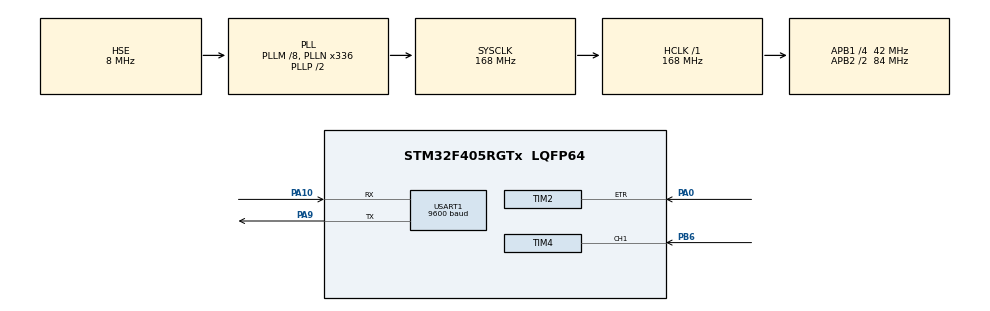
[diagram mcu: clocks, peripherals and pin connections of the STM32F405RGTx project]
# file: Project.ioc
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Mcu.Family=STM32F4
Mcu.Name=STM32F405RGTx
Mcu.Package=LQFP64
NVIC.PriorityGroup=NVIC_PRIORITYGROUP_4
NVIC.TIM4_IRQn=true\:1\:0\:true\:false\:true
NVIC.TIM5_IRQn=true\:0\:0\:false\:false\:true
NVIC.USART1_IRQn=true\:0\:0\:false\:false\:true
PA0-WKUP.Signal=S_TIM2_CH1_ETR
PA10.Mode=Asynchronous
PA10.Signal=USART1_RX
PA9.Mode=Asynchronous
PA9.Signal=USART1_TX
PB6.Signal=S_TIM4_CH1
PH0-OSC_IN.Mode=HSE-External-Oscillator
PH0-OSC_IN.Signal=RCC_OSC_IN
PH1-OSC_OUT.Mode=HSE-External-Oscillator
PH1-OSC_OUT.Signal=RCC_OSC_OUT
ProjectManager.HeapSize=0x200
ProjectManager.StackSize=0x400
ProjectManager.TargetToolchain=MDK-ARM V5
RCC.48MHZClocksFreq_Value=84000000
RCC.AHBFreq_Value=168000000
RCC.APB1CLKDivider=RCC_HCLK_DIV4
RCC.APB1Freq_Value=42000000
RCC.APB1TimFreq_Value=84000000
RCC.APB2CLKDivider=RCC_HCLK_DIV2
RCC.APB2Freq_Value=84000000
RCC.APB2TimFreq_Value=168000000
RCC.CortexFreq_Value=168000000
RCC.HCLKFreq_Value=168000000
RCC.HSE_VALUE=8000000
RCC.HSI_VALUE=16000000
RCC.LSE_VALUE=32768
RCC.PLLM=8
RCC.PLLN=336
RCC.PLLSourceVirtual=RCC_PLLSOURCE_HSE
RCC.SYSCLKFreq_VALUE=168000000
RCC.SYSCLKSource=RCC_SYSCLKSOURCE_PLLCLK
RCC.VCOOutputFreq_Value=336000000
SH.S_TIM2_CH1_ETR.0=TIM2_ETR,ClockSourceETR_Mode2
SH.S_TIM4_CH1.0=TIM4_CH1,Input_Capture1_from_TI1
TIM1.Period=65535
TIM1.Prescaler=35
TIM2.Period=0xFFFFFFFF
TIM4.Prescaler=41
TIM5.Period=999
TIM5.Prescaler=41999
USART1.BaudRate=9600
VP_TIM1_VS_ClockSourceINT.Mode=Internal
VP_TIM4_VS_ClockSourceINT.Mode=Internal
VP_TIM5_VS_ClockSourceINT.Mode=Internal
board=Project

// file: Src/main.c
/**
  ******************************************************************************
  * File Name          : main.c
  * Description        : Main program body
  ******************************************************************************
  *
  * COPYRIGHT(c) 2018 STMicroelectronics
  *
  * Redistribution and use in source and binary forms, with or without modification,
  * are permitted provided that the following conditions are met:
  *   1. Redistributions of source code must retain the above copyright notice,
  *      this list of conditions and the following disclaimer.
  *   2. Redistributions in binary form must reproduce the above copyright notice,
  *      this list of conditions and the following disclaimer in the documentation
  *      and/or other materials provided with the distribution.
  *   3. Neither the name of STMicroelectronics nor the names of its contributors
  *      may be used to endorse or promote products derived from this software
  *      without specific prior written permission.
  *
  * THIS SOFTWARE IS PROVIDED BY THE COPYRIGHT HOLDERS AND CONTRIBUTORS "AS IS"
  * AND ANY EXPRESS OR IMPLIED WARRANTIES, INCLUDING, BUT NOT LIMITED TO, THE
  * IMPLIED WARRANTIES OF MERCHANTABILITY AND FITNESS FOR A PARTICULAR PURPOSE ARE
  * DISCLAIMED. IN NO EVENT SHALL THE COPYRIGHT HOLDER OR CONTRIBUTORS BE LIABLE
  * FOR ANY DIRECT, INDIRECT, INCIDENTAL, SPECIAL, EXEMPLARY, OR CONSEQUENTIAL
  * DAMAGES (INCLUDING, BUT NOT LIMITED TO, PROCUREMENT OF SUBSTITUTE GOODS OR
  * SERVICES; LOSS OF USE, DATA, OR PROFITS; OR BUSINESS INTERRUPTION) HOWEVER
  * CAUSED AND ON ANY THEORY OF LIABILITY, WHETHER IN CONTRACT, STRICT LIABILITY,
  * OR TORT (INCLUDING NEGLIGENCE OR OTHERWISE) ARISING IN ANY WAY OUT OF THE USE
  * OF THIS SOFTWARE, EVEN IF ADVISED OF THE POSSIBILITY OF SUCH DAMAGE.
  *
  ******************************************************************************
  */
#include "stm32f4xx_hal.h"
#include "tim.h"
#include "usart.h"
#include "gpio.h"

/* USER CODE BEGIN PV */
/* Private variables ---------------------------------------------------------*/

/* USER CODE END PV */

void SystemClock_Config(void);
void Error_Handler(void);

/* USER CODE BEGIN PFP */
/* Private function prototypes -----------------------------------------------*/

/* USER CODE END PFP */

/* USER CODE BEGIN 0 */
uint16_t     TIM4CH1_CAPTURE_STA=0X80;		//输入捕获状态
float       TIM_FREQ;                       //频率值
uint32_t	  TIM1_COUNTER_TEMP;	            //定时器1计数值
uint32_t    TIM2_COUNTER_TEMP;              //定时器2计数值
/* USER CODE END 0 */

int main(void)
{

  /* U SER CODE BEGIN 1 */
    uint8_t f=0xff;
    char x='\"';
  /* USER CODE END 1 */

  /* MCU Configuration----------------------------------------------------------*/

  /* Reset of all peripherals, Initializes the Flash interface and the Systick. */
  HAL_Init();

  /* Configure the system clock */
  SystemClock_Config();

  /* Initialize all configured peripherals */
  MX_GPIO_Init();
  MX_TIM1_Init();
  MX_TIM2_Init();
  MX_TIM4_Init();
  MX_TIM5_Init();
  MX_USART1_UART_Init();

  /* USER CODE BEGIN 2 */
  HAL_TIM_IC_Start_IT(&htim4,TIM_CHANNEL_1); //使能TIM4输入捕获中断
  __HAL_TIM_ENABLE_IT(&htim4, TIM_CHANNEL_1); //使能更新中断

    __HAL_TIM_SET_COUNTER(&htim1,0);      //定时器1清零
    __HAL_TIM_SET_COUNTER(&htim2,0);      //定时器2清零

  /* USER CODE END 2 */

  /* Infinite loop */
  while (1)
  {
    if(TIM4CH1_CAPTURE_STA&0X800)
    {
        TIM_FREQ = (float)(TIM2_COUNTER_TEMP*20.0f)/TIM1_COUNTER_TEMP;

        printf("%.2fKHZ",TIM_FREQ);

        TIM1_COUNTER_TEMP = 0;
        TIM2_COUNTER_TEMP = 0;
        TIM4CH1_CAPTURE_STA = 0X80;
        HAL_TIM_IC_Start_IT(&htim4,TIM_CHANNEL_1);
    }

    else if(TIM4CH1_CAPTURE_STA&0X400)
    {
        TIM_FREQ = (float) 20000 / TIM1_COUNTER_TEMP;
        printf("%.2fHZ",TIM_FREQ);
        TIM1_COUNTER_TEMP = 0;
        TIM4CH1_CAPTURE_STA = 0X80;
    }
  }

}

/** System Clock Configuration
*/
void SystemClock_Config(void)
{

  RCC_OscInitTypeDef RCC_OscInitStruct;
  RCC_ClkInitTypeDef RCC_ClkInitStruct;

  __HAL_RCC_PWR_CLK_ENABLE();

  __HAL_PWR_VOLTAGESCALING_CONFIG(PWR_REGULATOR_VOLTAGE_SCALE1);

  RCC_OscInitStruct.OscillatorType = RCC_OSCILLATORTYPE_HSE;
  RCC_OscInitStruct.HSEState = RCC_HSE_ON;
  RCC_OscInitStruct.PLL.PLLState = RCC_PLL_ON;
  RCC_OscInitStruct.PLL.PLLSource = RCC_PLLSOURCE_HSE;
  RCC_OscInitStruct.PLL.PLLM = 8;
  RCC_OscInitStruct.PLL.PLLN = 336;
  RCC_OscInitStruct.PLL.PLLP = RCC_PLLP_DIV2;
  RCC_OscInitStruct.PLL.PLLQ = 4;
  if (HAL_RCC_OscConfig(&RCC_OscInitStruct) != HAL_OK)
  {
    Error_Handler();
  }

  RCC_ClkInitStruct.ClockType = RCC_CLOCKTYPE_HCLK|RCC_CLOCKTYPE_SYSCLK
                              |RCC_CLOCKTYPE_PCLK1|RCC_CLOCKTYPE_PCLK2;
  RCC_ClkInitStruct.SYSCLKSource = RCC_SYSCLKSOURCE_PLLCLK;
  RCC_ClkInitStruct.AHBCLKDivider = RCC_SYSCLK_DIV1;
  RCC_ClkInitStruct.APB1CLKDivider = RCC_HCLK_DIV4;
  RCC_ClkInitStruct.APB2CLKDivider = RCC_HCLK_DIV2;
  if (HAL_RCC_ClockConfig(&RCC_ClkInitStruct, FLASH_LATENCY_5) != HAL_OK)
  {
    Error_Handler();
  }

  HAL_SYSTICK_Config(HAL_RCC_GetHCLKFreq()/1000);

  HAL_SYSTICK_CLKSourceConfig(SYSTICK_CLKSOURCE_HCLK);

  /* SysTick_IRQn interrupt configuration */
  HAL_NVIC_SetPriority(SysTick_IRQn, 0, 0);
}

/* USER CODE BEGIN 4 */
//定时器TIM4输入捕获中断处理回调函数，该函数在HAL_TIM_IRQHandler中会被调用
void HAL_TIM_IC_CaptureCallback(TIM_HandleTypeDef *htim)//捕获中断发生时执行
{
                    //粗测第一次捕获上升沿
                    if(TIM4CH1_CAPTURE_STA&0X80)
                    {
                        TIM4CH1_CAPTURE_STA = 0X40;		//等待第二次上升沿
                        HAL_TIM_Base_Start(&htim1);     //使能定时器1，对标准信号计数
                    }
                    //完成粗测
                    else if(TIM4CH1_CAPTURE_STA&0X40)
                    {
                        if(__HAL_TIM_GET_COUNTER(&htim1) < 200)//获得定时器1计数值,小于200，则频率大于100
                            TIM4CH1_CAPTURE_STA = 0x20;                    //开启等精度测频
                        else
                            TIM4CH1_CAPTURE_STA = 0x04;                    //开启低频测频

                       HAL_TIM_Base_Stop(&htim1);                        //关闭定时器1
                       __HAL_TIM_SET_COUNTER(&htim1,0);       //定时器1清零
                    }

                    else if(TIM4CH1_CAPTURE_STA&0X20)             //开启等精度测评
                    {
                        TIM4CH1_CAPTURE_STA = 0X10;                      //等待闸门时间
                        HAL_TIM_Base_Start_IT(&htim5);                           //使能TIM5定时器中断
                        __HAL_TIM_SET_COUNTER(&htim5,0);      //定时器5清零
                    }

                    else if(TIM4CH1_CAPTURE_STA&0X10)              //开启计数
                    {
                          TIM4CH1_CAPTURE_STA = 0X01;   //等待闸门时间
                          HAL_TIM_Base_Start(&htim1);     //对标准信号计数
                          HAL_TIM_Base_Start(&htim2);     //对被测信号计数
                    }

                   else if(TIM4CH1_CAPTURE_STA&0X08)	//完成一次等精度测频
                  {
                        TIM1_COUNTER_TEMP = __HAL_TIM_GET_COUNTER(&htim1); //获得定时器1计数值
                        TIM2_COUNTER_TEMP = __HAL_TIM_GET_COUNTER(&htim2); //获得定时器2计数值

                        HAL_TIM_IC_Stop_IT(&htim4,TIM_CHANNEL_1);
                        HAL_TIM_Base_Stop(&htim1);            //关闭定时器1
                        HAL_TIM_Base_Stop(&htim2);            //关闭定时器2
                        __HAL_TIM_SET_COUNTER(&htim1,0);      //定时器1清零
                        __HAL_TIM_SET_COUNTER(&htim2,0);      //定时器2清零
                        TIM4CH1_CAPTURE_STA = 0X800;		//完成一次等精度测频
                   }

                   else if(TIM4CH1_CAPTURE_STA&0X04)        //开启低频检测
                   {
                       TIM4CH1_CAPTURE_STA = 0X02;    //等待第二次检测上升沿
                       HAL_TIM_Base_Start(&htim1);     //使能定时器1，对标准信号计数
                   }

                   else if(TIM4CH1_CAPTURE_STA&0X02)      //完成低频检测
                   {
                       TIM1_COUNTER_TEMP = __HAL_TIM_GET_COUNTER(&htim1); //获得定时器1计数值
                       HAL_TIM_Base_Stop(&htim1);            //关闭定时器1
                       __HAL_TIM_SET_COUNTER(&htim1,0);      //定时器1清零
                       TIM4CH1_CAPTURE_STA = 0X400;  //输出结果
                   }

}

 //定时器TIM5溢出中断处理回调函数
void HAL_TIM_PeriodElapsedCallback(TIM_HandleTypeDef *htim)
{
    if(TIM5 == htim->Instance)
    {
       if(TIM4CH1_CAPTURE_STA&0x01)
            TIM4CH1_CAPTURE_STA = 0x08;
    }
}

int fputc(int ch, FILE *f)
{
    HAL_UART_Transmit(&huart1, (uint8_t*)&ch ,1, 0xffff);

    return ch;
}
/* USER CODE END 4 */

void Error_Handler(void)
{
  while(1)
  {
  }
}

/************************ (C) COPYRIGHT STMicroelectronics *****END OF FILE****/
